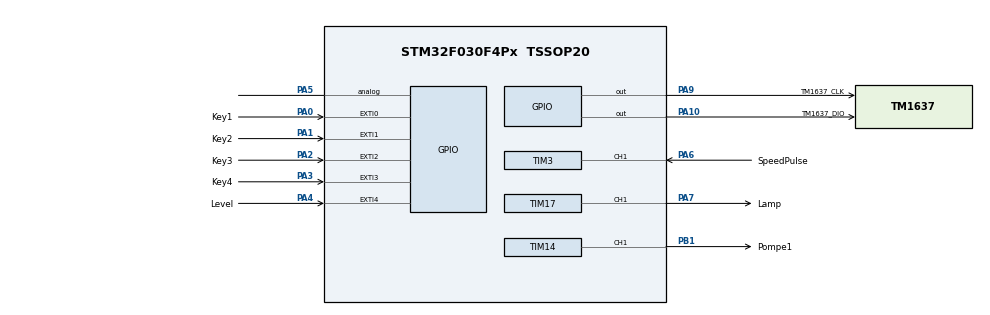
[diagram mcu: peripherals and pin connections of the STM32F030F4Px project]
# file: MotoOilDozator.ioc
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Mcu.Family=STM32F0
Mcu.Name=STM32F030F4Px
Mcu.Package=TSSOP20
NVIC.EXTI0_1_IRQn=true\:1\:0\:true\:false\:true\:true\:true\:true
NVIC.EXTI2_3_IRQn=true\:1\:0\:true\:false\:true\:true\:true\:true
NVIC.EXTI4_15_IRQn=true\:1\:0\:true\:false\:true\:true\:true\:true
NVIC.TIM14_IRQn=true\:1\:0\:true\:false\:true\:true\:true\:true
NVIC.TIM16_IRQn=true\:2\:0\:true\:false\:true\:true\:true\:true
NVIC.TIM1_BRK_UP_TRG_COM_IRQn=true\:0\:0\:false\:false\:true\:true\:true\:true
NVIC.TIM1_CC_IRQn=true\:0\:0\:false\:false\:true\:true\:true\:true
NVIC.TIM3_IRQn=true\:0\:0\:false\:false\:true\:true\:true\:true
PA0.GPIO_Label=Key1
PA0.GPIO_ModeDefaultEXTI=GPIO_MODE_IT_RISING_FALLING
PA0.GPIO_PuPd=GPIO_PULLUP
PA0.Signal=GPXTI0
PA1.GPIO_Label=Key2
PA1.GPIO_ModeDefaultEXTI=GPIO_MODE_IT_RISING_FALLING
PA1.GPIO_PuPd=GPIO_PULLUP
PA1.Signal=GPXTI1
PA10.GPIO_Label=TM1637_DIO
PA10.GPIO_PuPd=GPIO_PULLUP
PA10.Signal=GPIO_Output
PA13.Mode=Serial_Wire
PA13.Signal=SYS_SWDIO
PA14.Mode=Serial_Wire
PA14.Signal=SYS_SWCLK
PA2.GPIO_Label=Key3
PA2.GPIO_ModeDefaultEXTI=GPIO_MODE_IT_RISING_FALLING
PA2.GPIO_PuPd=GPIO_PULLUP
PA2.Signal=GPXTI2
PA3.GPIO_Label=Key4
PA3.GPIO_ModeDefaultEXTI=GPIO_MODE_IT_RISING_FALLING
PA3.GPIO_PuPd=GPIO_PULLUP
PA3.Signal=GPXTI3
PA4.GPIO_Label=Level
PA4.GPIO_ModeDefaultEXTI=GPIO_MODE_IT_RISING_FALLING
PA4.GPIO_PuPd=GPIO_PULLUP
PA4.Signal=GPXTI4
PA5.Signal=GPIO_Analog
PA6.GPIO_Label=SpeedPulse
PA6.Signal=S_TIM3_CH1
PA7.GPIO_Label=Lamp
PA7.Signal=S_TIM17_CH1
PA9.GPIO_Label=TM1637_CLK
PA9.GPIO_PuPd=GPIO_PULLUP
PA9.Signal=GPIO_Output
PB1.GPIO_Label=Pompe1
PB1.Signal=S_TIM14_CH1
PF0-OSC_IN.Mode=HSE-External-Oscillator
PF0-OSC_IN.Signal=RCC_OSC_IN
PF1-OSC_OUT.Mode=HSE-External-Oscillator
PF1-OSC_OUT.Signal=RCC_OSC_OUT
ProjectManager.HeapSize=0x200
ProjectManager.StackSize=0x400
ProjectManager.TargetToolchain=STM32CubeIDE
RCC.AHBFreq_Value=32000000
RCC.APB1Freq_Value=32000000
RCC.APB1TimFreq_Value=32000000
RCC.HCLKFreq_Value=32000000
RCC.PLLMUL=RCC_PLL_MUL4
RCC.PLLSourceVirtual=RCC_PLLSOURCE_HSE
RCC.SYSCLKFreq_VALUE=32000000
RCC.SYSCLKSource=RCC_SYSCLKSOURCE_PLLCLK
SH.S_TIM14_CH1.0=TIM14_CH1,PWM Generation1 CH1
SH.S_TIM17_CH1.0=TIM17_CH1,Output Compare1 CH1
SH.S_TIM3_CH1.0=TIM3_CH1,TriggerSource_TI1FP1
TIM1.AutoReloadPreload=TIM_AUTORELOAD_PRELOAD_ENABLE
TIM14.Channel=TIM_CHANNEL_1
TIM14.Period=2000
TIM14.Prescaler=15
TIM16.AutoReloadPreload=TIM_AUTORELOAD_PRELOAD_ENABLE
TIM16.Period=10000
TIM16.Prescaler=31999
TIM17.Channel=TIM_CHANNEL_1
TIM17.OCMode_1=TIM_OCMODE_INACTIVE
TIM17.Period=10000
TIM17.Prescaler=3199
TIM17.Pulse=2000
TIM3.TIM_MasterOutputTrigger=TIM_TRGO_UPDATE
TIM3.TIM_MasterSlaveMode=TIM_MASTERSLAVEMODE_ENABLE
VP_CRC_VS_CRC.Mode=CRC_Activate
VP_TIM14_VS_ClockSourceINT.Mode=Enable_Timer
VP_TIM16_VS_ClockSourceINT.Mode=Enable_Timer
VP_TIM17_VS_ClockSourceINT.Mode=Enable_Timer
VP_TIM1_VS_ClockSourceITR.Mode=TriggerSource_ITR2
VP_TIM1_VS_ControllerModeClock.Mode=Clock Mode
VP_TIM3_VS_ControllerModeClock.Mode=Clock Mode
board=custom

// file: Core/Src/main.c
/* USER CODE BEGIN Header */
/**
 ******************************************************************************
 * @file           : main.c
 * @brief          : Main program body
 ******************************************************************************
 * @attention
 *
 * Copyright (c) 2023 STMicroelectronics.
 * All rights reserved.
 *
 * This software is licensed under terms that can be found in the LICENSE file
 * in the root directory of this software component.
 * If no LICENSE file comes with this software, it is provided AS-IS.
 *
 ******************************************************************************
 */
/* USER CODE END Header */
#include "main.h"
#include "crc.h"
#include "tim.h"
#include "gpio.h"

/* USER CODE BEGIN PD */
#define CYCLE_INJECT_MIN 2
/* USER CODE END PD */

/* USER CODE BEGIN PV */
/*******************************************************************************
 * pompe and chain config
 * wheel contains 4 pulses per revolution
 * wheel / chain = 7 / 3
 * chain contains 28 / 3 pulses per revolution
 * median pompe's nominal flowrate 1.246ml/sec
 *  */
const uint32_t wheelLen_sm = 210;			//wheel circumference length in centimeters
const uint8_t wheelPulse = 4;					//wheel pulses per cycle
uint32_t injectionDistance_km = 100;	//distance between oil injections
uint16_t pinV_mcl = 20;								//dose of oil per pin
uint16_t pompeDoze_mcl = 1246;				//pompe's flow-rate in microliters in nominal power without PWM (100% PWM)
uint16_t pinQuant = 130;							//chain pins quantity
uint16_t rainMullFactor = 60;					//rain multiplying factor in percent
const uint16_t addTimeInjection_ms = 100;	//add time injection for overload chain, milliseconds

uint32_t pulseTotalCount;				//actual pulse value
uint32_t pulseLastCount;				//last pulse value
uint32_t pulseDelta;						//delta pulse value during TIM16 period
uint8_t dozeCycle = 1;					//number of chain passes during lubrication
uint32_t pulsesBetweenInjection;//pulses between oil injections
uint16_t pompePWM;							//pompe pwm
uint16_t timeInjection;					//TIM16 CC1 reg for window's oil inject detect
uint8_t recalc = 0;							//flag for calculate values

volatile uint8_t keyMode = 0x0F;
TimerMode_t pulseMode = measure;
TM1637_t display = { .Clock_Pin = TM1637_CLK_Pin, .Clock_Port =
		TM1637_CLK_GPIO_Port, .Data_Pin = TM1637_DIO_Pin, .Data_Port =
		TM1637_DIO_GPIO_Port, .brightness = 0x03, .delay = 5, .delayNeed = 0 };

/************************************************************
 * 								MENU FOR TM1637														*
 ************************************************************/
//char dist[4] = {0x38, 0x79, 0xd4, 0x04}; 	//distance text "LEn.d"
//char dose[4] = {0x38, 0x79, 0xd4, 0x04}; 	//dose for one pin text "Pin.d"
//char pompe[4] = {0x73, 0x3f, 0xb7, 0x5e};  //pompe dose text "PON.d"
//char chain[4] = {0x39, 0x74, 0xf7, 0x5e};	//chain quantity pin text "Cha.d"
//char coeff[4] = {0x39, 0x3f, 0x79, 0x71};	//rain mull factor text "COEF"
//char timeAdd[4] = {0x77, 0x5e, 0xde, 0x73};//time add injection text "Add.P"
uint8_t dist[4] = {0x00, 0x01, 0x02, 0x03}; 	//distance text "LEn.d"
uint8_t dose[4] = {0x04, 0x05, 0x06, 0x07}; 	//dose for one pin text "Pin.d"
uint8_t pompe[4] = {0x08, 0x09, 0x08, 0x07};  //pompe dose text "PON.d"
uint8_t chain[4] = {0x06, 0x04, 0x05, 0x03};	//chain quantity pin text "Cha.d"
uint8_t coeff[4] = {0x03, 0x01, 0x02, 0x00};	//rain mull factor text "COEF"
uint8_t timeAdd[4] = {0x04, 0x06, 0x05, 0x07};//time add injection text "Add.P"

//create: menu name			next					prev					parent			child					sel				enter	text menu
MENU_ITEM(Dist_name, 		DozePin_name, TimeAdd_name, NULL_MENU, DistInj_val, 	Menu_Out, NULL, (char *)dist);
MENU_ITEM(DozePin_name, Pompe_name, 	Dist_name, 		NULL_MENU, DozePin_val, 	Menu_Out, NULL, (char *)dose);
MENU_ITEM(Pompe_name, 	Chain_name, 	DozePin_name, NULL_MENU, Pompe_val, 		Menu_Out, NULL, (char *)pompe);
MENU_ITEM(Chain_name, 	RainC_name, 	Pompe_name, 	NULL_MENU, Chain_val, 		Menu_Out, NULL, (char *)chain);
MENU_ITEM(RainC_name, 	TimeAdd_name, Chain_name, 	NULL_MENU, RainC_val,			Menu_Out, NULL, (char *)coeff);
MENU_ITEM(TimeAdd_name, Dist_name, 		RainC_name, 	NULL_MENU, TimeAdd_val, 	Menu_Out, NULL, (char *)timeAdd);

MENU_ITEM(DistInj_val, 	NULL_MENU, 		NULL_MENU, 		Dist_name, 		NULL_MENU, 	NULL, 		NULL, NULL);
MENU_ITEM(DozePin_val, 	NULL_MENU, 		NULL_MENU, 		DozePin_name, NULL_MENU, 	NULL, 		NULL, NULL);
MENU_ITEM(Pompe_val, 		NULL_MENU, 		NULL_MENU, 		Pompe_name, 	NULL_MENU, 	NULL, 		NULL, NULL);
MENU_ITEM(Chain_val, 		NULL_MENU, 		NULL_MENU, 		Chain_name, 	NULL_MENU, 	NULL, 		NULL, NULL);
MENU_ITEM(RainC_val, 		NULL_MENU, 		NULL_MENU, 		RainC_name, 	NULL_MENU, 	NULL, 		NULL, NULL);
MENU_ITEM(TimeAdd_val, 	NULL_MENU, 		NULL_MENU, 		TimeAdd_name, NULL_MENU, 	NULL, 		NULL, NULL);

/* USER CODE END PV */

void SystemClock_Config(void);
/* USER CODE BEGIN PFP */
void Menu_Out(void);
/* USER CODE END PFP */

int main(void) {

	/* MCU Configuration--------------------------------------------------------*/

	/* Reset of all peripherals, Initializes the Flash interface and the Systick. */
	LL_APB1_GRP2_EnableClock(LL_APB1_GRP2_PERIPH_SYSCFG);
	LL_APB1_GRP1_EnableClock(LL_APB1_GRP1_PERIPH_PWR);

	/* SysTick_IRQn interrupt configuration */
	NVIC_SetPriority(SysTick_IRQn, 3);

	/* Configure the system clock */
	SystemClock_Config();

	/* USER CODE BEGIN SysInit */
	HardwareInit();
	/* USER CODE END SysInit */

	/* Initialize all configured peripherals */
	MX_GPIO_Init();
	MX_CRC_Init();
	MX_TIM3_Init();
	MX_TIM1_Init();
	MX_TIM14_Init();
	MX_TIM16_Init();
	MX_TIM17_Init();
	/* USER CODE BEGIN 2 */
	pulsesBetweenInjection = 100000 * wheelPulse * injectionDistance_km / wheelLen_sm;
	Menu_Navigate(&Dist_name);
	uint32_t pulsesdistance = pulsesBetweenInjection;
	/* USER CODE END 2 */

	/* Infinite loop */
	/* USER CODE BEGIN WHILE */
	while (1) {
		if (recalc) {
			dozeCycle = CYCLE_INJECT_MIN;
			do {
				dozeCycle += 1;
				pompePWM = 	(6 * pinQuant * pinV_mcl * pulseDelta) /
							(7 * wheelPulse * dozeCycle  * (TIM16->ARR / 1000) * pompeDoze_mcl / TIM14->ARR);
			} while (pompePWM > TIM14->ARR);
			timeInjection = 7 * wheelPulse * dozeCycle  * (TIM16->ARR / 1000) / (3 * pulseDelta);
			TIM16->CCR1 = timeInjection;
			recalc = 0;
		}
		switch (keyMode) {
		case Normal:
			pulsesdistance = pulsesBetweenInjection;
			break;
		case Rain:
			pulsesdistance = 100 * pulsesBetweenInjection / (100 + rainMullFactor);
			break;
		case Dust:
			pompePWM = 2000;
			break;
		case Key1:
			Menu_Navigate(MENU_PREVIOUS);
			break;
		case Key2:
			Menu_Navigate(MENU_NEXT);
			break;
		case Key3:
			Menu_Navigate(MENU_PARENT);
			break;
		case Key4:
			Menu_Navigate(MENU_CHILD);
			break;
		default:
			//keyMode = Normal;
			break;
		}
		keyMode = 0;
		pulseTotalCount = (TIM1->CNT * TIM3->ARR) + TIM3->CNT;
		TIM3->CCR1 = pulsesdistance % (uint32_t) (TIM3->ARR + 1);
		if (pulseTotalCount > (TIM1->CNT * TIM3->ARR)) {
			LL_TIM_EnableIT_CC1(TIM3);
		}
		//TM1637_SendArray(&display, dist, 1);
		LL_mDelay(50);

		/*	TM1637 section	*/

		/* USER CODE END WHILE */

	}
}

void SystemClock_Config(void) {
	LL_FLASH_SetLatency(LL_FLASH_LATENCY_1);
	while (LL_FLASH_GetLatency() != LL_FLASH_LATENCY_1) {
	}
	LL_RCC_HSE_Enable();

	/* Wait till HSE is ready */
	while (LL_RCC_HSE_IsReady() != 1) {

	}
	LL_RCC_PLL_ConfigDomain_SYS(LL_RCC_PLLSOURCE_HSE_DIV_1, LL_RCC_PLL_MUL_4);
	LL_RCC_PLL_Enable();

	/* Wait till PLL is ready */
	while (LL_RCC_PLL_IsReady() != 1) {

	}
	LL_RCC_SetAHBPrescaler(LL_RCC_SYSCLK_DIV_1);
	LL_RCC_SetAPB1Prescaler(LL_RCC_APB1_DIV_1);
	LL_RCC_SetSysClkSource(LL_RCC_SYS_CLKSOURCE_PLL);

	/* Wait till System clock is ready */
	while (LL_RCC_GetSysClkSource() != LL_RCC_SYS_CLKSOURCE_STATUS_PLL) {

	}
	LL_Init1msTick(32000000);
	LL_SetSystemCoreClock(32000000);
}

/* USER CODE BEGIN 4 */
void Menu_Out(void){
	TM1637_SendArray(&display, (uint8_t *)Menu_GetCurrentMenu()->Text, 1);
	//TM1637_SendArray(&display, dist, 1);
	__NOP();
}

/* USER CODE END 4 */

void Error_Handler(void) {
	__disable_irq();
	while (1) {
	}
}
